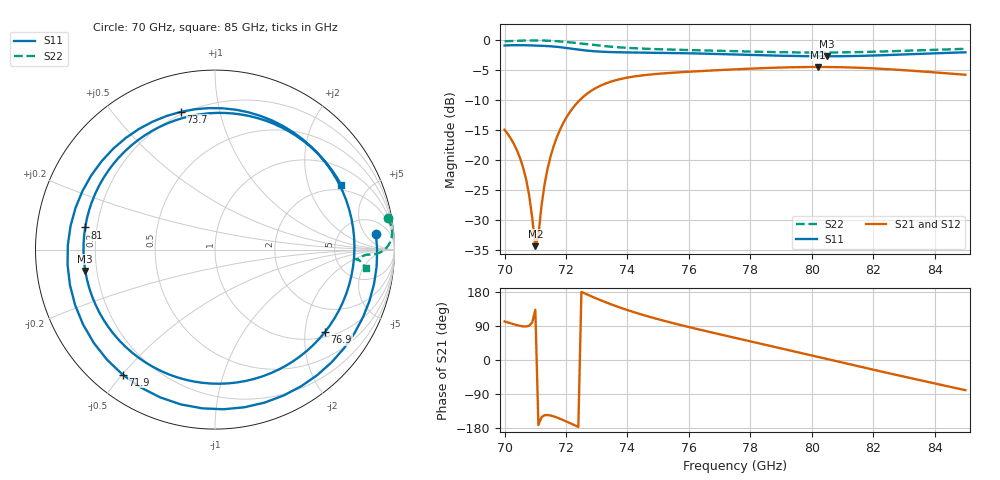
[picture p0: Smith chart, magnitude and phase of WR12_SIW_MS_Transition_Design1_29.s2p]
! Touchstone file exported from HFSS 2020.1.3
!  File:  /home/erdoel/scratch/P2S30/WR12_SIW_MS_Transition.aedt
!  Generated:  4:59:09 PM  Feb 06, 2021
!  Design:  Design1
!  Project:  WR12_SIW_MS_Transition
!  Setup:  Setup1
!  Solution:  Sweep
! Variables:
!  T_L2 = 35um
!  fil = 0.3mm
!  hm = 0.4mm
!  hsub = 0.127mm
!  hwg = 1.55mm
!  l1 = 1.05mm
!  lcav = 1.92mm
!  lt = 0.7mm
!  offx = 0um
!  offy = 40um
!  rvia = 0.075mm
!  s1 = 1.33mm
!  shift = 20um
!  sl = 3.1mm
!  sy = 0.65mm
!  th = 35um
!  w1 = 1.2mm
!  w50 = 300um
!  wcav = 3.5mm
!  wm = 1.9mm
!  wslot = 1.5mm
!  wt = 0.6mm
!  wwg = 3.1mm
# GHZ S MA R 50.000000
! Terminal data exported
! Port[1] = MS
! Port[2] = WG
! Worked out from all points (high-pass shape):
!   151 points, 70 GHz to 85 GHz, reference per port
!   highest |S21| = -4.49 dB at 80.2 GHz (marker M1); lowest = -34.4 dB at 71 GHz (marker M2)
!   |S21| within 3 dB of the highest: 73.17 GHz to end of sweep
!   lowest |S11| = -2.7 dB at 80.5 GHz (marker M3), VSWR 6.48
!   |S11| at or under -10 dB: nowhere
!   |S22| runs from -2.1 to -0.1 dB; largest |S21 - S12| = 7.9e-15
!   S11 on the Smith chart (normalised r, x): 70 GHz: 10, +10; 71.9 GHz: 0.09, -0.50; 73.7 GHz: 0.19, +0.77; 76.9 GHz: 1.15, -2.54; 81 GHz: 0.15, +0.08; 85 GHz: 1.73, +3.31
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70  0.9011 5.7  0.1785 101.7  0.1785 101.7  0.9777 10.4
! Gamma 0 1043.63065965527 0 0 0 0 3.01627322552705 2282.21101456185
! Port Impedance50 0 0 0 0 0 50 0
70.6  0.906 -31.0  0.08703 88.7  0.08703 88.7  0.9893 8.1
70.8  0.9035 -44.1  0.05076 90.5  0.05076 90.5  0.9916 7.2
71  0.9001 -57.7  0.01914 132.5  0.01914 132.5  0.9923 6.3
71.4  0.8908 -86.9  0.08497 -145.2  0.08497 -145.2  0.988 4.2
71.9  0.8661 -126.4  0.2012 -158.3  0.2012 -158.3  0.9698 1.7
72.5  0.8259 -174.1  0.3257 179.7  0.3257 179.7  0.9341 -0.5
73.1  0.801 142.1  0.4142 158.5  0.4142 158.5  0.8978 -1.5
73.7  0.7908 103.9  0.4686 140.0  0.4686 140.0  0.8706 -1.8
74.3  0.7869 71.1  0.5007 123.9  0.5007 123.9  0.8525 -1.9
75  0.7837 38.1  0.5233 107.6  0.5233 107.6  0.8388 -2.0
75.9  0.777 0.9  0.5427 88.9  0.5427 88.9  0.8264 -2.4
76.9  0.7657 -36.9  0.5604 69.7  0.5604 69.7  0.8144 -3.0
77.5  0.7579 -58.8  0.5702 58.6  0.5702 58.6  0.8073 -3.4
78.7  0.7433 -102.8  0.5871 36.4  0.5871 36.4  0.7945 -3.8
80  0.7333 -151.6  0.5963 12.0  0.5963 12.0  0.7871 -3.9
80.2  0.7327 -159.2  0.5965 8.3  0.5965 8.3  0.787 -3.9
80.5  0.7325 -170.7  0.596 2.6  0.596 2.6  0.7873 -3.9
81  0.7338 170.3  0.5933 -6.8  0.5933 -6.8  0.7894 -3.9
82.5  0.7501 114.4  0.5716 -34.7  0.5716 -34.7  0.8058 -4.3
83.7  0.7703 71.7  0.5448 -56.5  0.5448 -56.5  0.8249 -5.3
85  0.7904 27.1  0.5137 -79.7  0.5137 -79.7  0.8452 -7.1
